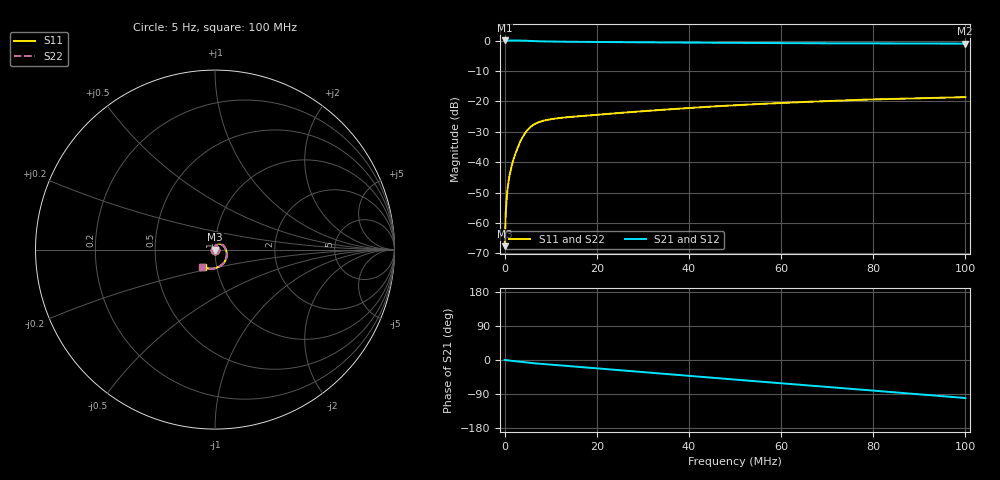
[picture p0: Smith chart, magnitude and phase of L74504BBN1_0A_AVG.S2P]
!Agilent Technologies,E5061B,MY49102235,A.02.00
!Date: Mon Jul 10 16:24:59 2023
!Data & Calibration Information:
!Freq	S11:SOLT2(ON)	S21:SOLT2(ON)	S12:SOLT2(ON)	S22:SOLT2(ON)
# Hz S RI R 50
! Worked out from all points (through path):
!   1600 points, 5 Hz to 100 MHz, reference 50 ohm
!   highest |S21| = 0.02 dB at 5 Hz (marker M1); lowest = -1.0 dB at 99.94 MHz (marker M2)
!   group delay of S21, straight-line fit = 2.73 ns
!   lowest |S11| = -67.6 dB at 62.54 kHz (marker M3), VSWR 1.00, Z = 50 + j0.0415 ohm
!   |S11| at or under -10 dB: start of sweep to end of sweep
!   |S22| runs from -77.3 to -18.4 dB; largest |S21 - S12| = 0.0027
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5  -0.000468 0.000432  1.002 0.00234  1.001 -4.54e-05  -0.000122 -6.12e-05
62544.08  -3.84e-05 0.000415  1 -0.00129  1 -0.00113  1.63e-05 0.000321
375239.5  0.000149 0.00217  0.9999 -0.00877  1 -0.00882  8.73e-05 0.00213
562856.8  0.000278 0.00325  0.9995 -0.0134  0.9995 -0.0131  0.000209 0.00321
625395.8  0.000279 0.00359  0.9996 -0.0149  0.999 -0.0146  0.000284 0.00361
813013.1  0.000188 0.00458  1 -0.0193  0.999 -0.0187  0.000189 0.00454
1125709  0.000354 0.00633  0.9997 -0.0268  0.9991 -0.0263  0.00038 0.00632
1626021  0.000737 0.00922  0.9989 -0.0387  0.9986 -0.0381  0.000731 0.00917
2313951  0.0014 0.0135  0.9976 -0.0554  0.9975 -0.0546  0.00146 0.0134
3252037  0.00377 0.0202  0.9947 -0.0788  0.9945 -0.0785  0.00374 0.0202
4190124  0.00871 0.0267  0.9886 -0.1021  0.9885 -0.1019  0.00865 0.0266
4940593  0.0145 0.0304  0.9817 -0.1195  0.9816 -0.1191  0.0144 0.0304
5753601  0.0214 0.0323  0.9735 -0.1361  0.9734 -0.1358  0.0214 0.0323
7754851  0.0355 0.0299  0.955 -0.1695  0.955 -0.1692  0.0354 0.03
1.11945e7  0.0484 0.0204  0.9318 -0.2212  0.9318 -0.221  0.0483 0.0204
1.669794e7  0.057 0.00695  0.8986 -0.3038  0.8986 -0.3036  0.0571 0.00684
3.333334e7  0.0656 -0.0291  0.7595 -0.5374  0.7596 -0.5372  0.0657 -0.0298
5.003127e7  0.0532 -0.068  0.5667 -0.7177  0.567 -0.7177  0.0527 -0.0689
6.672921e7  0.0183 -0.0972  0.3394 -0.8361  0.3392 -0.836  0.0178 -0.0983
8.33646e7  -0.0257 -0.1062  0.0924 -0.8903  0.0927 -0.8904  -0.0268 -0.1073
9.993746e7  -0.069 -0.0949  -0.1589 -0.8743  -0.1591 -0.8745  -0.0706 -0.0963
1e8  -0.0691 -0.0948  -0.1597 -0.8742  -0.1602 -0.8742  -0.0709 -0.0963
